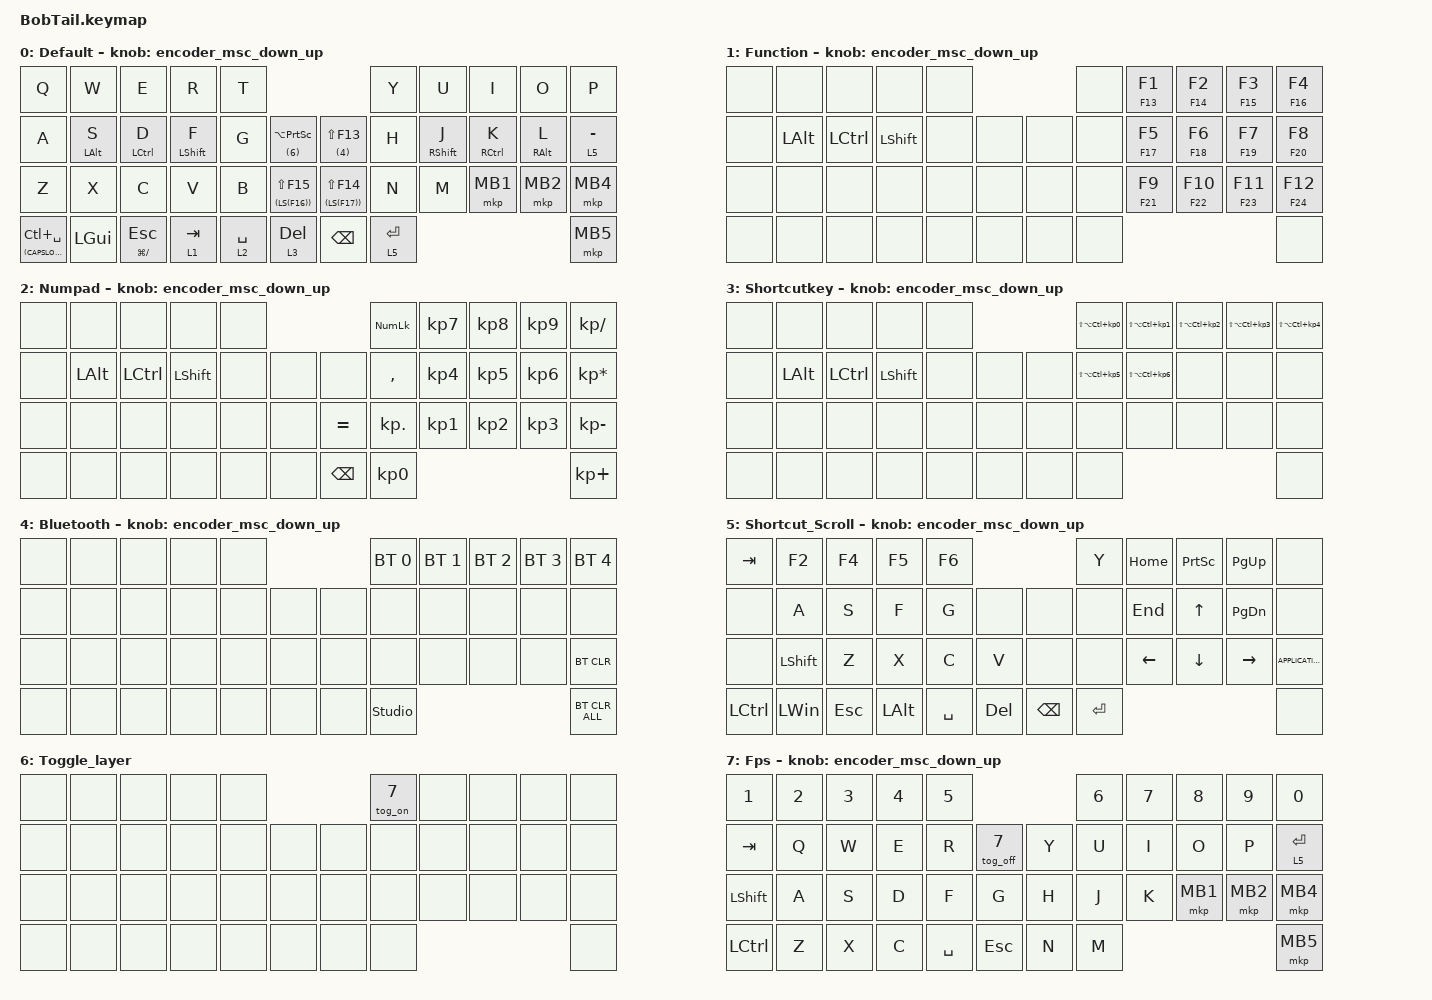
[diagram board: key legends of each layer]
#include <behaviors.dtsi>
#include <dt-bindings/zmk/bt.h>
#include <dt-bindings/zmk/keys.h>
#include <dt-bindings/zmk/pointing.h>

#define MOUSE 4
#define SCROLL 5
#define NUM 6
#define ZMK_POINTING_DEFAULT_SCRL_VAL 80

&mt {
    flavor = "balanced";
    quick-tap-ms = <0>;
    tapping-term-ms = <500>;
};

/ {
    combos {
        compatible = "zmk,combos";

        middleclick {
            bindings = <&mkp MB3>;
            key-positions = <31 32>;
        };

        comma_singlequote {
            bindings = <&mt SINGLE_QUOTE COMMA>;
            key-positions = <18 19>;
        };

        period_doublequote {
            bindings = <&mt DOUBLE_QUOTES PERIOD>;
            key-positions = <30 31>;
        };

        exclamation_semicolon {
            bindings = <&mt SEMICOLON EXCLAMATION>;
            key-positions = <13 12>;
        };

        question_colon {
            bindings = <&mt COLON QUESTION>;
            key-positions = <24 25>;
        };

        tab_close_open {
            bindings = <&mt LC(LS(T)) LC(F4)>;
            key-positions = <9 8>;
        };

        parenthesis {
            bindings = <&parenthesis>;
            key-positions = <3 4>;
        };
    };

    behaviors {
        encoder_msc_down_up: encoder_msc_down_up {
            compatible = "zmk,behavior-sensor-rotate";
            label = "ENCODER_MSC_DOWN_UP";
            #sensor-binding-cells = <0>;
            bindings = <&msc SCRL_UP>, <&msc SCRL_DOWN>;

            tap-ms = <20>;
        };

        tog_on: toggle_layer_on_only {
            compatible = "zmk,behavior-toggle-layer";
            #binding-cells = <1>;
            display-name = "Toggle Layer On";
            toggle-mode = "on";
        };

        tog_off: toggle_layer_off_only {
            compatible = "zmk,behavior-toggle-layer";
            #binding-cells = <1>;
            display-name = "Toggle Layer Off";
            toggle-mode = "off";
        };
    };

    macros {
        parenthesis: parenthesis {
            compatible = "zmk,behavior-macro";
            #binding-cells = <0>;
            bindings = <&kp LEFT_PARENTHESIS &kp RIGHT_PARENTHESIS &kp LEFT_ARROW>;
            label = "PARENTHESIS";
        };
    };

    keymap {
        compatible = "zmk,keymap";

        Default {
            bindings = <
&kp Q                     &kp W           &kp E                 &kp R             &kp T                                                            &kp Y        &kp U              &kp I                &kp O            &kp P
&kp A                     &mt LEFT_ALT S  &mt LEFT_CONTROL D    &mt LEFT_SHIFT F  &kp G        &lt (6) LA(PRINTSCREEN)      &lt (4) LS(F13)        &kp H        &mt RIGHT_SHIFT J  &mt RIGHT_CONTROL K  &mt RIGHT_ALT L  &lt 5 MINUS
&kp Z                     &kp X           &kp C                 &kp V             &kp B        &mt (LS(F16)) LS(F15)        &mt (LS(F17)) LS(F14)  &kp N        &kp M              &mkp MB1             &mkp MB2         &mkp MB4
&mt (CAPSLOCK) LC(SPACE)  &kp LEFT_GUI    &mt LG(SLASH) ESCAPE  &lt 1 TAB         &lt 2 SPACE  &lt 3 DELETE                 &kp BACKSPACE          &lt 5 ENTER                                                           &mkp MB5
            >;

            sensor-bindings = <&encoder_msc_down_up>;
        };

        Function {
            bindings = <
&none  &none         &none             &none           &none                    &none  &mt F13 F1  &mt F14 F2   &mt F15 F3   &mt F16 F4
&none  &kp LEFT_ALT  &kp LEFT_CONTROL  &kp LEFT_SHIFT  &none  &none      &none  &none  &mt F17 F5  &mt F18 F6   &mt F19 F7   &mt F20 F8
&none  &none         &none             &none           &none  &none      &none  &none  &mt F21 F9  &mt F22 F10  &mt F23 F11  &mt F24 F12
&none  &none         &none             &none           &none  &none      &none  &none                                        &none
            >;

            sensor-bindings = <&encoder_msc_down_up>;
        };

        Numpad {
            bindings = <
&none  &none         &none             &none           &none                            &kp KP_NUMLOCK   &kp KP_NUMBER_7  &kp KP_NUMBER_8  &kp KP_NUMBER_9  &kp KP_SLASH
&none  &kp LEFT_ALT  &kp LEFT_CONTROL  &kp LEFT_SHIFT  &none  &none      &none          &kp COMMA        &kp KP_NUMBER_4  &kp KP_NUMBER_5  &kp KP_NUMBER_6  &kp KP_ASTERISK
&none  &none         &none             &none           &none  &none      &kp EQUAL      &kp KP_DOT       &kp KP_NUMBER_1  &kp KP_NUMBER_2  &kp KP_NUMBER_3  &kp KP_MINUS
&none  &none         &none             &none           &none  &none      &kp BACKSPACE  &kp KP_NUMBER_0                                                     &kp KP_PLUS
            >;

            sensor-bindings = <&encoder_msc_down_up>;
        };

        Shortcutkey {
            bindings = <
&none  &none         &none             &none           &none                    &kp LS(LA(LC(KP_NUMBER_0)))  &kp LS(LA(LC(KP_NUMBER_1)))  &kp LS(LA(LC(KP_NUMBER_2)))  &kp LS(LA(LC(KP_NUMBER_3)))  &kp LS(LA(LC(KP_NUMBER_4)))
&none  &kp LEFT_ALT  &kp LEFT_CONTROL  &kp LEFT_SHIFT  &none  &none      &none  &kp LS(LA(LC(KP_NUMBER_5)))  &kp LS(LA(LC(KP_NUMBER_6)))  &none                        &none                        &none
&none  &none         &none             &none           &none  &none      &none  &none                        &none                        &none                        &none                        &none
&none  &none         &none             &none           &none  &none      &none  &none                                                                                                               &none
            >;

            sensor-bindings = <&encoder_msc_down_up>;
        };

        Bluetooth {
            bindings = <
&none  &none  &none  &none  &none                    &bt BT_SEL 0    &bt BT_SEL 1  &bt BT_SEL 2  &bt BT_SEL 3  &bt BT_SEL 4
&none  &none  &none  &none  &none  &none      &none  &none           &none         &none         &none         &none
&none  &none  &none  &none  &none  &none      &none  &none           &none         &none         &none         &bt BT_CLR
&none  &none  &none  &none  &none  &none      &none  &studio_unlock                                            &bt BT_CLR_ALL
            >;

            sensor-bindings = <&encoder_msc_down_up>;
        };

        Shortcut_Scroll {
            bindings = <
&kp TAB           &kp F2          &kp F4      &kp F5        &kp F6                                    &kp Y      &kp HOME        &kp PRINTSCREEN  &kp PAGE_UP      &none
&none             &kp A           &kp S       &kp F         &kp G      &none           &none          &none      &kp END         &kp UP_ARROW     &kp PAGE_DOWN    &none
&none             &kp LEFT_SHIFT  &kp Z       &kp X         &kp C      &kp V           &none          &none      &kp LEFT_ARROW  &kp DOWN_ARROW   &kp RIGHT_ARROW  &kp K_APPLICATION
&kp LEFT_CONTROL  &kp LEFT_WIN    &kp ESCAPE  &kp LEFT_ALT  &kp SPACE  &kp DELETE      &kp BACKSPACE  &kp ENTER                                                    &none
            >;

            sensor-bindings = <&encoder_msc_down_up>;
        };

        Toggle_layer {
            bindings = <
&none  &none  &none  &none  &none                    &tog_on 7  &none  &none  &none  &none
&none  &none  &none  &none  &none  &none      &none  &none      &none  &none  &none  &none
&none  &none  &none  &none  &none  &none      &none  &none      &none  &none  &none  &none
&none  &none  &none  &none  &none  &none      &none  &none                           &none
            >;
        };

        Fps {
            bindings = <
&kp NUMBER_1      &kp NUMBER_2  &kp NUMBER_3  &kp NUMBER_4  &kp NUMBER_5                         &kp NUMBER_6  &kp NUMBER_7  &kp NUMBER_8  &kp NUMBER_9  &kp NUMBER_0
&kp TAB           &kp Q         &kp W         &kp E         &kp R         &tog_off 7      &kp Y  &kp U         &kp I         &kp O         &kp P         &lt 5 ENTER
&kp LEFT_SHIFT    &kp A         &kp S         &kp D         &kp F         &kp G           &kp H  &kp J         &kp K         &mkp MB1      &mkp MB2      &mkp MB4
&kp LEFT_CONTROL  &kp Z         &kp X         &kp C         &kp SPACE     &kp ESCAPE      &kp N  &kp M                                                   &mkp MB5
            >;

            sensor-bindings = <&encoder_msc_down_up>;
        };
    };
};
